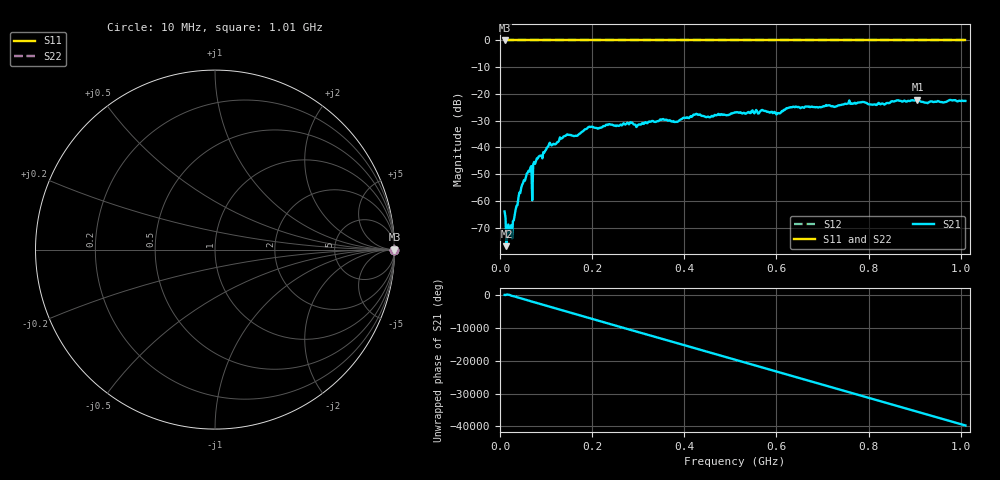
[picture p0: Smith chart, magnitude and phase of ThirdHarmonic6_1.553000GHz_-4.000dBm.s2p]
! 8/16/2025 6:26:03 PM
! C:\ANRITSUVNA\TEMP\TEMP.S2P
! CHANNEL.1
! TR.MEASUREMENT
! RAW.DATA
! RF.CORRECTION.OFF
! AVERAGING.OFF
! IF.BANDWIDTH: 5KHZ
! SWEEPTYPE:  FREQ.SWEEP(Linear)
! Reference Plane Port Info
! PORT:  PORT1  PORT2
! DISTANCE:  0  m  0  m
! TIME:  0  s  0  s
! PHASE.OFFSET:  0  deg.  0  deg.
! LOSS:  0  dB  0  dB
! REF.LOSS:  0  dB  0  dB
! REF.FREQ:  0  Hz  0  Hz
! Power Info
! POWER:  -20  dBm  -20  dBm
! EFF.POWER:  -20  dBm  -20  dBm
! SOURCE.ATTEN:  0  dB  0  dB
! TEST.ATTEN:  0  dB  0  dB
# GHZ S RI R 50.0
! FREQ.GHZ  S11RE  S11IM  S21RE  S21IM  S12RE  S12IM  S22RE  S22IM
!; PortSelection: Port_12
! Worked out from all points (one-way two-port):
!   501 points, 10 MHz to 1.01 GHz, reference 50 ohm
!   highest |S21| = -22.16 dB at 906 MHz (marker M1); lowest = -76.9 dB at 14 MHz (marker M2)
!   lowest |S11| = 0.0 dB at 10 MHz (marker M3)
!   |S11| at or under -10 dB: nowhere
!   |S22| runs from 0.0 to 0.0 dB; largest |S21 - S12| = 1.1
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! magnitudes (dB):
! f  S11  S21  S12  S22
! 10 MHz  0.0  -63.9  0.0  0.0
! 14 MHz  0.0  -76.9  0.0  0.0
! 18 MHz  0.0  -68.8  0.0  0.0
! 26 MHz  0.0  -74.0  0.0  0.0
! 46 MHz  0.0  -55.1  0.0  0.0
! 64 MHz  0.0  -49.0  0.0  0.0
! 66 MHz  0.0  -47.5  0.0  0.0
! 74 MHz  0.0  -45.4  0.0  0.0
! 76 MHz  0.0  -46.1  0.0  0.0
! 82 MHz  0.0  -44.1  0.0  0.0
! 106 MHz  0.0  -39.0  0.0  0.0
! 178 MHz  0.0  -34.1  0.0  0.0
! 196 MHz  0.0  -32.3  0.0  0.0
! 344 MHz  0.0  -30.2  0.0  0.0
! 382 MHz  0.0  -30.4  0.0  0.0
! 510 MHz  0.0  -26.9  0.0  0.0
! 604 MHz  0.0  -27.1  0.0  0.0
! 632 MHz  0.0  -25.0  0.0  0.0
! 678 MHz  0.0  -24.8  0.0  0.0
! 844 MHz  0.0  -23.4  0.0  0.0
! 906 MHz  0.0  -22.2  0.0  0.0
! 1.01 GHz  0.0  -22.6  0.0  0.0
